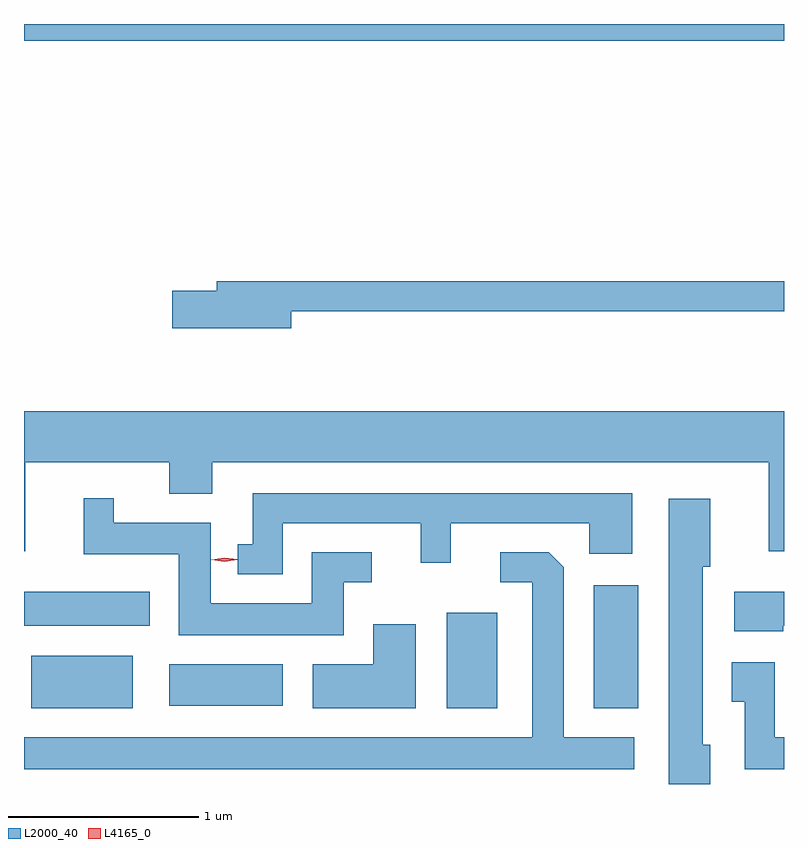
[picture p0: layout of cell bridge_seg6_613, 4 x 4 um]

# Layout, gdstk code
import gdstk
lib = gdstk.Library(unit=1e-6, precision=1e-09)
def R(c, l, rs):  # rectangles x0, y0, x1, y1
    for r in rs: c.add(gdstk.rectangle(r[:2], r[2:], *l))
def P(c, l, *ps):  # polygons
    for p in ps: c.add(gdstk.Polygon(p, *l))
L2000_40 = (2000, 40)
L4165_0 = (4165, 0)

bridge_seg6_613 = lib.new_cell('bridge_seg6_613')
R(bridge_seg6_613, L2000_40, [(318.866,1659.741,319.399,1660.019), (321.051,1659.741,321.319,1660.244), (321.826,1659.741,322.059,1660.389), (319.591,1659.756,320.189,1659.974), (318.827,1660.176,319.489,1660.354), (318.827,1663.256,322.827,1663.343)])
P(bridge_seg6_613, L2000_40, [(320.234,1661.831),(322.827,1661.831),(322.827,1661.989),(319.841,1661.989),(319.841,1661.939),(319.606,1661.939),(319.606,1661.741),(320.234,1661.741)],
  [(318.834,1661.036),(319.591,1661.036),(319.591,1660.871),(319.819,1660.871),(319.819,1661.036),(322.746,1661.036),(322.746,1660.568),(322.827,1660.568),(322.827,1661.304),(318.827,1661.304),(318.827,1660.568),(318.834,1660.568)],
  [(320.189,1660.716),(320.916,1660.716),(320.916,1660.508),(321.074,1660.508),(321.074,1660.716),(321.801,1660.716),(321.801,1660.556),(322.029,1660.556),(322.029,1660.874),(320.031,1660.874),(320.031,1660.604),(319.953,1660.604),(319.953,1660.446),(320.189,1660.446)],
  [(320.509,1660.406),(320.658,1660.406),(320.658,1660.564),(320.341,1660.564),(320.341,1660.294),(319.809,1660.294),(319.809,1660.719),(319.299,1660.719),(319.299,1660.848),(319.141,1660.848),(319.141,1660.551),(319.641,1660.551),(319.641,1660.126),(320.509,1660.126)],
  [(322.439,1659.549),(322.399,1659.549),(322.399,1660.486),(322.439,1660.486),(322.439,1660.844),(322.221,1660.844),(322.221,1659.343),(322.439,1659.343)],
  [(322.038,1659.589),(321.669,1659.589),(321.669,1660.484),(321.589,1660.564),(321.333,1660.564),(321.333,1660.406),(321.501,1660.406),(321.501,1659.589),(318.827,1659.589),(318.827,1659.421),(322.038,1659.421)],
  [(322.824,1660.176),(322.827,1660.176),(322.827,1660.354),(322.566,1660.354),(322.566,1660.146),(322.824,1660.146)],
  [(320.889,1660.184),(320.666,1660.184),(320.666,1659.974),(320.346,1659.974),(320.346,1659.741),(320.889,1659.741)],
  [(322.827,1659.589),(322.779,1659.589),(322.779,1659.984),(322.551,1659.984),(322.551,1659.776),(322.621,1659.776),(322.621,1659.421),(322.827,1659.421)])
P(bridge_seg6_613, L4165_0, [(319.882,1660.514),(319.812,1660.523),(319.812,1660.524),(319.812,1660.524),(319.882,1660.534),(319.951,1660.525),(319.951,1660.524),(319.951,1660.524)])

lib.write_gds('bridge_seg6_613.gds')
